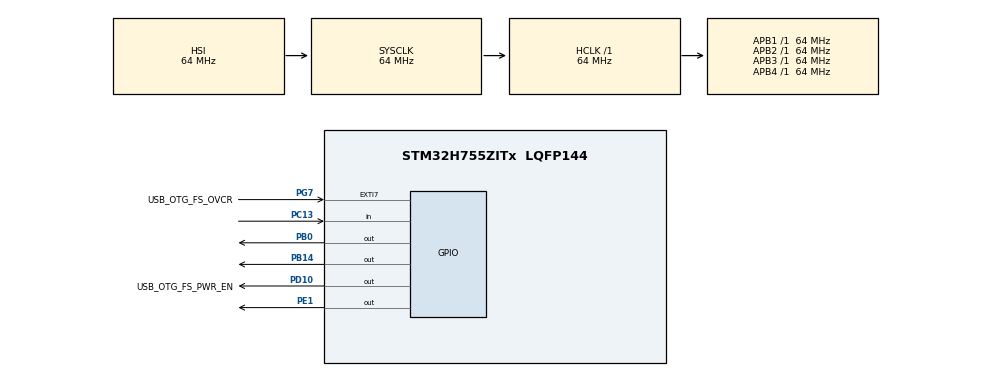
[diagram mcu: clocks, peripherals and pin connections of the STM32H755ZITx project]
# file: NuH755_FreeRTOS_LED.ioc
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CortexM4.IPs=FATFS_M4\:I,FREERTOS_M4\:I,IWDG2\:I,RCC,WWDG2\:I,DMA,BDMA,MDMA,NVIC2\:I,ETH,USART3,DEBUG,PDM2PCM_M4\:I,PWR,RESMGR_UTILITY,SYS_M4\:I,USB_DEVICE_M4\:I,USB_HOST_M4\:I,CORTEX_M4\:I,GPIO,OPENAMP_M4\:I,VREFBUF,NUCLEO-H755ZI-Q
CortexM7.IPs=FATFS_M7\:I,FREERTOS_M7\:I,IWDG1\:I,RCC\:I,WWDG1\:I,DMA\:I,BDMA\:I,MDMA\:I,NVIC1\:I,ETH\:I,USART3\:I,USB_OTG_FS\:I,SYS\:I,CORTEX_M7\:I,DEBUG\:I,PDM2PCM_M7\:I,PWR\:I,RESMGR_UTILITY\:I,USB_DEVICE_M7\:I,USB_HOST_M7\:I,GPIO\:I,OPENAMP_M7\:I,VREFBUF\:I,NUCLEO-H755ZI-Q\:I,MEMORYMAP\:I
FREERTOS_M7.Tasks01=defaultTask,24,128,StartDefaultTask,Default,NULL,Dynamic,NULL,NULL
FREERTOS_M7.configUSE_NEWLIB_REENTRANT=1
Mcu.Family=STM32H7
Mcu.Name=STM32H755ZITx
Mcu.Package=LQFP144
NUCLEO-H755ZI-Q.BUTTON=1
NUCLEO-H755ZI-Q.LD1=true
NUCLEO-H755ZI-Q.LD2=true
NUCLEO-H755ZI-Q.LD3=true
NUCLEO-H755ZI-Q.VCP=true
NVIC1.EXTI15_10_IRQn=true\:5\:0\:false\:false\:true\:true\:false\:true\:true
NVIC1.PriorityGroup=NVIC_PRIORITYGROUP_4
NVIC2.PriorityGroup=NVIC_PRIORITYGROUP_4
PA1.PinAttribute=CortexM7
PA1.Signal=ETH_REF_CLK
PA11.PinAttribute=CortexM7
PA11.Signal=USB_OTG_FS_DM
PA12.PinAttribute=CortexM7
PA12.Signal=USB_OTG_FS_DP
PA2.PinAttribute=CortexM7
PA2.Signal=ETH_MDIO
PA7.PinAttribute=CortexM7
PA7.Signal=ETH_CRS_DV
PA8.PinAttribute=CortexM7
PA8.Signal=USB_OTG_FS_SOF
PA9.PinAttribute=CortexM7
PA9.Signal=USB_OTG_FS_VBUS
PB0.Signal=GPIO_Output
PB13.PinAttribute=CortexM7
PB13.Signal=ETH_TXD1
PB14.Signal=GPIO_Output
PC1.PinAttribute=CortexM7
PC1.Signal=ETH_MDC
PC13.Signal=GPIO_Input
PC14-OSC32_IN\ (OSC32_IN).PinAttribute=Free
PC14-OSC32_IN\ (OSC32_IN).Signal=RCC_OSC32_IN
PC15-OSC32_OUT\ (OSC32_OUT).PinAttribute=Free
PC15-OSC32_OUT\ (OSC32_OUT).Signal=RCC_OSC32_OUT
PC4.PinAttribute=CortexM7
PC4.Signal=ETH_RXD0
PC5.PinAttribute=CortexM7
PC5.Signal=ETH_RXD1
PD10.GPIO_Label=USB_OTG_FS_PWR_EN
PD10.PinAttribute=Free
PD10.Signal=GPIO_Output
PD8.Signal=USART3_TX
PD9.Signal=USART3_RX
PE1.Signal=GPIO_Output
PG11.PinAttribute=CortexM7
PG11.Signal=ETH_TX_EN
PG13.PinAttribute=CortexM7
PG13.Signal=ETH_TXD0
PG7.GPIO_Label=USB_OTG_FS_OVCR
PG7.PinAttribute=Free
PG7.Signal=GPXTI7
PH0-OSC_IN\ (PH0).PinAttribute=Free
PH0-OSC_IN\ (PH0).Signal=RCC_OSC_IN
PH1-OSC_OUT\ (PH1).PinAttribute=Free
PH1-OSC_OUT\ (PH1).Signal=RCC_OSC_OUT
ProjectManager.HeapSize=M4-0x200,M7-0x200
ProjectManager.StackSize=M4-0x400,M7-0x400
ProjectManager.TargetToolchain=STM32CubeIDE
RCC.ADCFreq_Value=129000000
RCC.APB1Freq_Value=64000000
RCC.APB2Freq_Value=64000000
RCC.APB3Freq_Value=64000000
RCC.APB4Freq_Value=64000000
RCC.CortexFreq_Value=64000000
RCC.DIVM1=5
RCC.DIVN1=48
RCC.DIVQ1=5
RCC.HCLKFreq_Value=64000000
RCC.PLL2FRACN=0
RCC.PLL3FRACN=0
RCC.PLLFRACN=0
RCC.SYSCLKFreq_VALUE=64000000
RCC.SupplySource=PWR_DIRECT_SMPS_SUPPLY
RCC.USBFreq_Value=122880000
VP_FREERTOS_M7_VS_CMSIS_V2.Mode=CMSIS_V2
VP_MEMORYMAP_VS_MEMORYMAP.Mode=CurAppReg
VP_NUCLEO-H755ZI-Q_VS_BSP_COMMON.Mode=COMMON
VP_SYS_M4_VS_Systick.Mode=SysTick
board=NUCLEO-H755ZI-Q

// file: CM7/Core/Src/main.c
/* USER CODE BEGIN Header */
/**
  ******************************************************************************
  * @file           : main.c
  * @brief          : Main program body
  ******************************************************************************
  * @attention
  *
  * Copyright (c) 2025 STMicroelectronics.
  * All rights reserved.
  *
  * This software is licensed under terms that can be found in the LICENSE file
  * in the root directory of this software component.
  * If no LICENSE file comes with this software, it is provided AS-IS.
  *
  ******************************************************************************
  */
/* USER CODE END Header */
#include "main.h"
#include "cmsis_os.h"

/* USER CODE BEGIN PD */

/* DUAL_CORE_BOOT_SYNC_SEQUENCE: Define for dual core boot synchronization    */
/*                             demonstration code based on hardware semaphore */
/* This define is present in both CM7/CM4 projects                            */
/* To comment when developping/debugging on a single core                     */
#define DUAL_CORE_BOOT_SYNC_SEQUENCE

#if defined(DUAL_CORE_BOOT_SYNC_SEQUENCE)
#ifndef HSEM_ID_0
#define HSEM_ID_0 (0U) /* HW semaphore 0*/
#endif
#endif /* DUAL_CORE_BOOT_SYNC_SEQUENCE */

/* USER CODE END PD */

COM_InitTypeDef BspCOMInit;

/* Definitions for defaultTask */
osThreadId_t defaultTaskHandle;
const osThreadAttr_t defaultTask_attributes = {
  .name = "defaultTask",
  .stack_size = 128 * 4,
  .priority = (osPriority_t) osPriorityNormal,
};
/* USER CODE BEGIN PV */
osThreadId_t led1TaskHandle;
osThreadId_t led2TaskHandle;
osThreadId_t led3TaskHandle;
/* USER CODE END PV */

void SystemClock_Config(void);
static void MX_GPIO_Init(void);
void StartDefaultTask(void *argument);

/* USER CODE BEGIN PFP */
void StartLed1Task(void *argument);
void StartLed2Task(void *argument);
void StartLed3Task(void *argument);
/* USER CODE END PFP */

int main(void)
{

/* USER CODE BEGIN Boot_Mode_Sequence_0 */
#if defined(DUAL_CORE_BOOT_SYNC_SEQUENCE)
  int32_t timeout;
#endif /* DUAL_CORE_BOOT_SYNC_SEQUENCE */
/* USER CODE END Boot_Mode_Sequence_0 */

/* USER CODE BEGIN Boot_Mode_Sequence_1 */
#if defined(DUAL_CORE_BOOT_SYNC_SEQUENCE)
  /* Wait until CPU2 boots and enters in stop mode or timeout*/
  timeout = 0xFFFF;
  while((__HAL_RCC_GET_FLAG(RCC_FLAG_D2CKRDY) != RESET) && (timeout-- > 0));
  if ( timeout < 0 )
  {
  Error_Handler();
  }
#endif /* DUAL_CORE_BOOT_SYNC_SEQUENCE */
/* USER CODE END Boot_Mode_Sequence_1 */
  /* MCU Configuration--------------------------------------------------------*/

  /* Reset of all peripherals, Initializes the Flash interface and the Systick. */
  HAL_Init();

  /* Configure the system clock */
  SystemClock_Config();
/* USER CODE BEGIN Boot_Mode_Sequence_2 */
#if defined(DUAL_CORE_BOOT_SYNC_SEQUENCE)
/* When system initialization is finished, Cortex-M7 will release Cortex-M4 by means of
HSEM notification */
/*HW semaphore Clock enable*/
__HAL_RCC_HSEM_CLK_ENABLE();
/*Take HSEM */
HAL_HSEM_FastTake(HSEM_ID_0);
/*Release HSEM in order to notify the CPU2(CM4)*/
HAL_HSEM_Release(HSEM_ID_0,0);
/* wait until CPU2 wakes up from stop mode */
timeout = 0xFFFF;
while((__HAL_RCC_GET_FLAG(RCC_FLAG_D2CKRDY) == RESET) && (timeout-- > 0));
if ( timeout < 0 )
{
Error_Handler();
}
#endif /* DUAL_CORE_BOOT_SYNC_SEQUENCE */
/* USER CODE END Boot_Mode_Sequence_2 */

  /* Initialize all configured peripherals */
  MX_GPIO_Init();

  /* Init scheduler */
  osKernelInitialize();

  /* Create the thread(s) */
  /* creation of defaultTask */
  defaultTaskHandle = osThreadNew(StartDefaultTask, NULL, &defaultTask_attributes);

  /* USER CODE BEGIN RTOS_THREADS */
  /* add threads, ... */
  /* Create LED blink tasks with different frequencies */
  const osThreadAttr_t led1Task_attributes = {
    .name = "led1Task",
    .priority = (osPriority_t) osPriorityNormal,
    .stack_size = 256 * 4
  };
  led1TaskHandle = osThreadNew(StartLed1Task, NULL, &led1Task_attributes);

  const osThreadAttr_t led2Task_attributes = {
    .name = "led2Task",
    .priority = (osPriority_t) osPriorityBelowNormal,
    .stack_size = 256 * 4
  };
  led2TaskHandle = osThreadNew(StartLed2Task, NULL, &led2Task_attributes);

  const osThreadAttr_t led3Task_attributes = {
    .name = "led3Task",
    .priority = (osPriority_t) osPriorityLow,
    .stack_size = 256 * 4
  };
  led3TaskHandle = osThreadNew(StartLed3Task, NULL, &led3Task_attributes);
  /* USER CODE END RTOS_THREADS */

  /* Initialize leds */
  BSP_LED_Init(LED_GREEN);
  BSP_LED_Init(LED_YELLOW);
  BSP_LED_Init(LED_RED);

  /* Initialize USER push-button, will be used to trigger an interrupt each time it's pressed.*/
  BSP_PB_Init(BUTTON_USER, BUTTON_MODE_EXTI);

  /* Initialize COM1 port (115200, 8 bits (7-bit data + 1 stop bit), no parity */
  BspCOMInit.BaudRate   = 115200;
  BspCOMInit.WordLength = COM_WORDLENGTH_8B;
  BspCOMInit.StopBits   = COM_STOPBITS_1;
  BspCOMInit.Parity     = COM_PARITY_NONE;
  BspCOMInit.HwFlowCtl  = COM_HWCONTROL_NONE;
  if (BSP_COM_Init(COM1, &BspCOMInit) != BSP_ERROR_NONE)
  {
    Error_Handler();
  }

  printf("=== UART printf ready ===\r\n");

  /* Start scheduler */
  osKernelStart();

  /* We should never get here as control is now taken by the scheduler */

  /* Infinite loop */
  while (1)
  {

  }
}

void SystemClock_Config(void)
{
  RCC_OscInitTypeDef RCC_OscInitStruct = {0};
  RCC_ClkInitTypeDef RCC_ClkInitStruct = {0};

  /** Supply configuration update enable
  */
  HAL_PWREx_ConfigSupply(PWR_DIRECT_SMPS_SUPPLY);

  /** Configure the main internal regulator output voltage
  */
  __HAL_PWR_VOLTAGESCALING_CONFIG(PWR_REGULATOR_VOLTAGE_SCALE3);

  while(!__HAL_PWR_GET_FLAG(PWR_FLAG_VOSRDY)) {}

  /** Initializes the RCC Oscillators according to the specified parameters
  * in the RCC_OscInitTypeDef structure.
  */
  RCC_OscInitStruct.OscillatorType = RCC_OSCILLATORTYPE_HSI;
  RCC_OscInitStruct.HSIState = RCC_HSI_DIV1;
  RCC_OscInitStruct.HSICalibrationValue = RCC_HSICALIBRATION_DEFAULT;
  RCC_OscInitStruct.PLL.PLLState = RCC_PLL_NONE;
  if (HAL_RCC_OscConfig(&RCC_OscInitStruct) != HAL_OK)
  {
    Error_Handler();
  }

  /** Initializes the CPU, AHB and APB buses clocks
  */
  RCC_ClkInitStruct.ClockType = RCC_CLOCKTYPE_HCLK|RCC_CLOCKTYPE_SYSCLK
                              |RCC_CLOCKTYPE_PCLK1|RCC_CLOCKTYPE_PCLK2
                              |RCC_CLOCKTYPE_D3PCLK1|RCC_CLOCKTYPE_D1PCLK1;
  RCC_ClkInitStruct.SYSCLKSource = RCC_SYSCLKSOURCE_HSI;
  RCC_ClkInitStruct.SYSCLKDivider = RCC_SYSCLK_DIV1;
  RCC_ClkInitStruct.AHBCLKDivider = RCC_HCLK_DIV1;
  RCC_ClkInitStruct.APB3CLKDivider = RCC_APB3_DIV1;
  RCC_ClkInitStruct.APB1CLKDivider = RCC_APB1_DIV1;
  RCC_ClkInitStruct.APB2CLKDivider = RCC_APB2_DIV1;
  RCC_ClkInitStruct.APB4CLKDivider = RCC_APB4_DIV1;

  if (HAL_RCC_ClockConfig(&RCC_ClkInitStruct, FLASH_LATENCY_1) != HAL_OK)
  {
    Error_Handler();
  }
}

static void MX_GPIO_Init(void)
{
  GPIO_InitTypeDef GPIO_InitStruct = {0};

  /* GPIO Ports Clock Enable */
  __HAL_RCC_GPIOC_CLK_ENABLE();
  __HAL_RCC_GPIOA_CLK_ENABLE();
  __HAL_RCC_GPIOB_CLK_ENABLE();
  __HAL_RCC_GPIOG_CLK_ENABLE();

  /*Configure GPIO pins : PC1 PC4 PC5 */
  GPIO_InitStruct.Pin = GPIO_PIN_1|GPIO_PIN_4|GPIO_PIN_5;
  GPIO_InitStruct.Mode = GPIO_MODE_AF_PP;
  GPIO_InitStruct.Pull = GPIO_NOPULL;
  GPIO_InitStruct.Speed = GPIO_SPEED_FREQ_LOW;
  GPIO_InitStruct.Alternate = GPIO_AF11_ETH;
  HAL_GPIO_Init(GPIOC, &GPIO_InitStruct);

  /*Configure GPIO pins : PA1 PA2 PA7 */
  GPIO_InitStruct.Pin = GPIO_PIN_1|GPIO_PIN_2|GPIO_PIN_7;
  GPIO_InitStruct.Mode = GPIO_MODE_AF_PP;
  GPIO_InitStruct.Pull = GPIO_NOPULL;
  GPIO_InitStruct.Speed = GPIO_SPEED_FREQ_LOW;
  GPIO_InitStruct.Alternate = GPIO_AF11_ETH;
  HAL_GPIO_Init(GPIOA, &GPIO_InitStruct);

  /*Configure GPIO pin : PB13 */
  GPIO_InitStruct.Pin = GPIO_PIN_13;
  GPIO_InitStruct.Mode = GPIO_MODE_AF_PP;
  GPIO_InitStruct.Pull = GPIO_NOPULL;
  GPIO_InitStruct.Speed = GPIO_SPEED_FREQ_LOW;
  GPIO_InitStruct.Alternate = GPIO_AF11_ETH;
  HAL_GPIO_Init(GPIOB, &GPIO_InitStruct);

  /*Configure GPIO pins : PA8 PA11 PA12 */
  GPIO_InitStruct.Pin = GPIO_PIN_8|GPIO_PIN_11|GPIO_PIN_12;
  GPIO_InitStruct.Mode = GPIO_MODE_AF_PP;
  GPIO_InitStruct.Pull = GPIO_NOPULL;
  GPIO_InitStruct.Speed = GPIO_SPEED_FREQ_LOW;
  GPIO_InitStruct.Alternate = GPIO_AF10_OTG1_FS;
  HAL_GPIO_Init(GPIOA, &GPIO_InitStruct);

  /*Configure GPIO pins : PG11 PG13 */
  GPIO_InitStruct.Pin = GPIO_PIN_11|GPIO_PIN_13;
  GPIO_InitStruct.Mode = GPIO_MODE_AF_PP;
  GPIO_InitStruct.Pull = GPIO_NOPULL;
  GPIO_InitStruct.Speed = GPIO_SPEED_FREQ_LOW;
  GPIO_InitStruct.Alternate = GPIO_AF11_ETH;
  HAL_GPIO_Init(GPIOG, &GPIO_InitStruct);

}

/* USER CODE BEGIN 4 */
void StartLed1Task(void *argument)
{
  for(;;)
  {
    BSP_LED_Toggle(LED_GREEN);
    osDelay(100); // fast blink
  }
}

void StartLed2Task(void *argument)
{
  for(;;)
  {
    BSP_LED_Toggle(LED_YELLOW);
    osDelay(250); // medium blink
  }
}

void StartLed3Task(void *argument)
{
  for(;;)
  {
    BSP_LED_Toggle(LED_RED);
    osDelay(500); // slow blink
  }
}

/* USER CODE END 4 */

void StartDefaultTask(void *argument)
{
  for(;;)
  {
    osDelay(1);
  }
}

void Error_Handler(void)
{
  __disable_irq();
  while (1)
  {
  }
}
